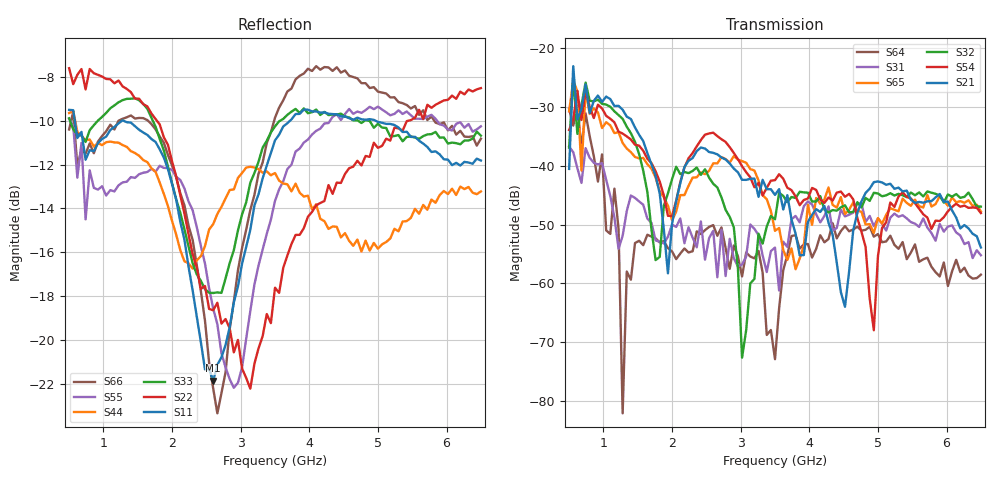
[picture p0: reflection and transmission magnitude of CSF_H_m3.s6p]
!Keysight Technologies,M9804A,MY58100912,A.14.10.03
!Date: Thursday, April 27, 2023 10:28:33
!Correction: S11(C  6-Port  )
!S12(C  6-Port  )
!S13(C  6-Port  )
!S14(C  6-Port  )
!S15(C  6-Port  )
!S16(C  6-Port  )
!S21(C  6-Port  )
!S22(C  6-Port  )
!S23(C  6-Port  )
!S24(C  6-Port  )
!S25(C  6-Port  )
!S26(C  6-Port  )
!S31(C  6-Port  )
!S32(C  6-Port  )
!S33(C  6-Port  )
!S34(C  6-Port  )
!S35(C  6-Port  )
!S36(C  6-Port  )
!S41(C  6-Port  )
!S42(C  6-Port  )
!S43(C  6-Port  )
!S44(C  6-Port  )
!S45(C  6-Port  )
!S46(C  6-Port  )
!S51(C  6-Port  )
!S52(C  6-Port  )
!S53(C  6-Port  )
!S54(C  6-Port  )
!S55(C  6-Port  )
!S56(C  6-Port  )
!S61(C  6-Port  )
!S62(C  6-Port  )
!S63(C  6-Port  )
!S64(C  6-Port  )
!S65(C  6-Port  )
!S66(C  6-Port  )
!S6P File: Measurement: :
# Hz S  RI  R 50
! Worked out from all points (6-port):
!   101 points, 500 MHz to 6.5 GHz, reference 50 ohm
!   strongest paths, dB at 500 MHz, 2 GHz, 3.5 GHz, 5 GHz, 6.5 GHz:
!     S21: -40.5, -49.9, -44.9, -42.6, -53.9
!     S54: -33.9, -48.5, -42.4, -55.4, -48.0
!     S32: -36.9, -42.2, -49.1, -44.7, -46.9
!     S65: -30.7, -49.3, -51.0, -48.9, -47.7
!     S31: -36.7, -50.0, -53.9, -48.9, -55.2
!     S64: -30.3, -54.5, -72.9, -51.6, -58.5
!   lowest |S11| = -21.8 dB at 2.6 GHz (marker M1), VSWR 1.18, Z = 42.7 + j1.92 ohm
!   |S11| at or under -10 dB: 582.4 MHz to 1.276 GHz (693.3 MHz wide, 74.6 % of centre); 1.287 GHz to 3.722 GHz (2.435 GHz wide, 97.2 % of centre); 4.961 GHz to end of sweep
